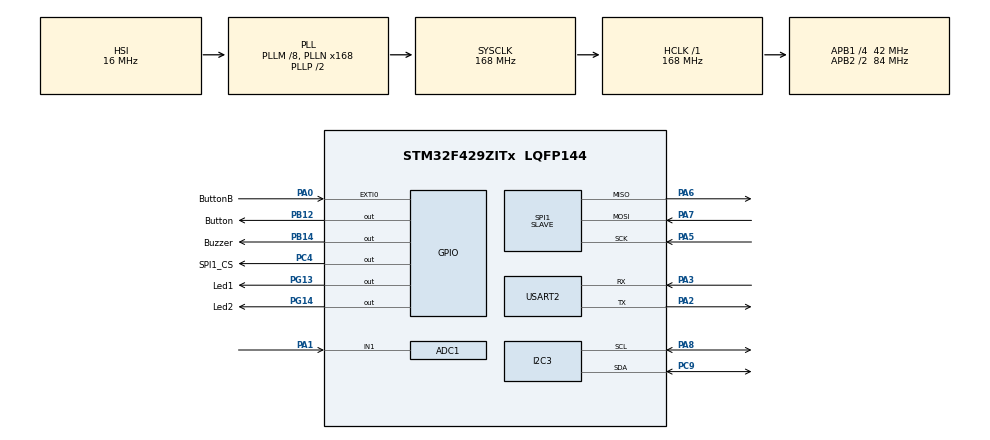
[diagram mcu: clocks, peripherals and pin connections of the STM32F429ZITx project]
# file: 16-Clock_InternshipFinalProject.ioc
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ADC1.Channel-0\#ChannelRegularConversion=ADC_CHANNEL_1
ADC1.ExternalTrigConv=ADC_EXTERNALTRIGCONV_T3_TRGO
ADC1.NbrOfConversionFlag=1
ADC1.Rank-0\#ChannelRegularConversion=1
ADC1.SamplingTime-0\#ChannelRegularConversion=ADC_SAMPLETIME_3CYCLES
ADC1.master=1
Dma.Request0=USART2_RX
Dma.USART2_RX.0.Direction=DMA_PERIPH_TO_MEMORY
Dma.USART2_RX.0.FIFOMode=DMA_FIFOMODE_DISABLE
Dma.USART2_RX.0.Instance=DMA1_Stream5
Dma.USART2_RX.0.MemDataAlignment=DMA_MDATAALIGN_BYTE
Dma.USART2_RX.0.MemInc=DMA_MINC_ENABLE
Dma.USART2_RX.0.Mode=DMA_NORMAL
Dma.USART2_RX.0.PeriphDataAlignment=DMA_PDATAALIGN_BYTE
Dma.USART2_RX.0.PeriphInc=DMA_PINC_DISABLE
Dma.USART2_RX.0.Priority=DMA_PRIORITY_LOW
Mcu.Family=STM32F4
Mcu.Name=STM32F429ZITx
Mcu.Package=LQFP144
NVIC.ADC_IRQn=true\:0\:0\:false\:false\:true\:true\:true
NVIC.DMA1_Stream5_IRQn=true\:0\:0\:false\:false\:true\:false\:true
NVIC.EXTI0_IRQn=true\:0\:0\:false\:false\:true\:true\:true
NVIC.PriorityGroup=NVIC_PRIORITYGROUP_4
NVIC.RCC_IRQn=true\:0\:0\:false\:false\:true\:true\:false
NVIC.SPI1_IRQn=true\:0\:0\:false\:false\:true\:true\:true
NVIC.TIM2_IRQn=true\:0\:0\:false\:false\:true\:true\:true
NVIC.TIM4_IRQn=true\:0\:0\:false\:false\:true\:true\:true
NVIC.USART2_IRQn=true\:0\:0\:false\:false\:true\:true\:true
PA0/WKUP.GPIO_Label=ButtonB
PA0/WKUP.Signal=GPXTI0
PA1.Signal=ADCx_IN1
PA2.Mode=Asynchronous
PA2.Signal=USART2_TX
PA3.Mode=Asynchronous
PA3.Signal=USART2_RX
PA5.Mode=Full_Duplex_Slave
PA5.Signal=SPI1_SCK
PA6.Mode=Full_Duplex_Slave
PA6.Signal=SPI1_MISO
PA7.Mode=Full_Duplex_Slave
PA7.Signal=SPI1_MOSI
PA8.Mode=I2C
PA8.Signal=I2C3_SCL
PB12.GPIO_Label=Button
PB12.Signal=GPIO_Output
PB14.GPIO_Label=Buzzer
PB14.Signal=GPIO_Output
PC4.GPIO_Label=SPI1_CS
PC4.Signal=GPIO_Output
PC9.Mode=I2C
PC9.Signal=I2C3_SDA
PG13.GPIO_Label=Led1
PG13.Signal=GPIO_Output
PG14.GPIO_Label=Led2
PG14.Signal=GPIO_Output
PH0/OSC_IN.Mode=HSE-External-Oscillator
PH0/OSC_IN.Signal=RCC_OSC_IN
PH1/OSC_OUT.Mode=HSE-External-Oscillator
PH1/OSC_OUT.Signal=RCC_OSC_OUT
ProjectManager.HeapSize=0x200
ProjectManager.StackSize=0x400
ProjectManager.TargetToolchain=MDK-ARM V5.27
RCC.48MHZClocksFreq_Value=84000000
RCC.AHBFreq_Value=168000000
RCC.APB1CLKDivider=RCC_HCLK_DIV4
RCC.APB1Freq_Value=42000000
RCC.APB1TimFreq_Value=84000000
RCC.APB2CLKDivider=RCC_HCLK_DIV2
RCC.APB2Freq_Value=84000000
RCC.APB2TimFreq_Value=168000000
RCC.CortexFreq_Value=168000000
RCC.HCLKFreq_Value=168000000
RCC.HSE_VALUE=8000000
RCC.HSI_VALUE=16000000
RCC.LSE_VALUE=32768
RCC.PLLM=8
RCC.PLLN=168
RCC.SYSCLKFreq_VALUE=168000000
RCC.SYSCLKSource=RCC_SYSCLKSOURCE_PLLCLK
RCC.VCOOutputFreq_Value=336000000
SH.ADCx_IN1.0=ADC1_IN1,IN1
SPI1.Direction=SPI_DIRECTION_2LINES
SPI1.Mode=SPI_MODE_SLAVE
SPI1.VirtualType=VM_SLAVE
TIM2.Period=8400-1
TIM2.Prescaler=1000-1
TIM3.Period=8400
TIM3.Prescaler=100
TIM3.TIM_MasterOutputTrigger=TIM_TRGO_UPDATE
TIM4.Period=10000
TIM4.Prescaler=8400
USART2.VirtualMode=VM_ASYNC
VP_TIM2_VS_ClockSourceINT.Mode=Internal
VP_TIM3_VS_ClockSourceINT.Mode=Internal
VP_TIM4_VS_ClockSourceINT.Mode=Internal
board=custom

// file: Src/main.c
/* USER CODE BEGIN Header */
/**
  ******************************************************************************
  * @file           : main.c
  * @brief          : Main program body
  ******************************************************************************
  * @attention
  *
  * <h2><center>&copy; Copyright (c) 2020 STMicroelectronics.
  * All rights reserved.</center></h2>
  *
  * This software component is licensed by ST under BSD 3-Clause license,
  * the "License"; You may not use this file except in compliance with the
  * License. You may obtain a copy of the License at:
  *                        opensource.org/licenses/BSD-3-Clause
  *
  ******************************************************************************
  */
/* USER CODE END Header */

#include "main.h"

/* USER CODE BEGIN Includes */
#include "i2c-lcd.h"
#include <stdio.h>  	//printf
#include "string.h"
#include <stdlib.h>
/* USER CODE END Includes */

/* USER CODE BEGIN PTD */
#ifdef __GNUC__						//Printf function
  /* With GCC, small printf (option LD Linker->Libraries->Small printf
     set to 'Yes') calls __io_putchar() */
  #define PUTCHAR_PROTOTYPE int __io_putchar(int ch)
#else
  #define PUTCHAR_PROTOTYPE int fputc(int ch, FILE *f)
#endif /* __GNUC__ */

	#ifdef __GNUC__
#define GETCHAR_PROTOTYPE int __io_getchar (void)
#else
#define GETCHAR_PROTOTYPE int fgetc(FILE * f)
#endif /* __GNUC__ */
/* USER CODE END PTD */

ADC_HandleTypeDef hadc1;

I2C_HandleTypeDef hi2c3;

SPI_HandleTypeDef hspi1;

TIM_HandleTypeDef htim2;
TIM_HandleTypeDef htim3;
TIM_HandleTypeDef htim4;

UART_HandleTypeDef huart2;
DMA_HandleTypeDef hdma_usart2_rx;

void SystemClock_Config(void);
static void MX_GPIO_Init(void);
static void MX_DMA_Init(void);
static void MX_ADC1_Init(void);
static void MX_I2C3_Init(void);
static void MX_SPI1_Init(void);
static void MX_TIM2_Init(void);
static void MX_TIM3_Init(void);
static void MX_TIM4_Init(void);
static void MX_USART2_UART_Init(void);

/* USER CODE BEGIN 0 */

//*************adc variables**********//
uint16_t adcval;

//*************clock variables********//
int count1=0;

int seconds=0;
int minutes=0;
int hours=0;

int day=1;
char* date="     Monday     ";
//*************clock set variables****//
int setSEC=0;
int setMIN=0;
int setHRS=0;
//*************alarm set variables****//
int alarmSEC=5;
int alarmMIN=0;
int alarmHRS=0;

//*************LCD menu variables****//
int time4clk=0;
int menu=0;
int setmenu=1;
//*************UART variables*******//
uint8_t dayBuff[1]={'\0'};
uint8_t UARTmenuBuff[1]={'0'};
uint8_t UARTSetmenuBuff[1]={'0'};
uint8_t UARTmenuScale=0;
uint8_t UARTdayScale=0;
uint8_t UARTSetmenuScale=0;
int UARTmenu;
int UARTSetmenu=0;
//*************UART variables*******//
uint8_t SPIseconds;
uint8_t SPIminutes;
uint8_t SPIhours;
uint8_t SPIbuff[6];
//*************Functions************//
char *GetInputPrototype(FILE* i, size_t size){
	char *str;
  int ch;
	size_t len = 0;
  str = realloc(NULL, sizeof(char)*size);

	while(EOF!=(ch=fgetc(i)) && ch != '\n'){
		__HAL_UART_CLEAR_OREFLAG(&huart2);
		HAL_UART_Receive(&huart2, (uint8_t *)i, 1, 0xFFF);
		str[len++]=ch;
		if(len==size)
				{
				str = realloc(str, sizeof(char)*(size+=16));
        if(!str)return str;
        }

		memset(i, '\0', sizeof(&i));
	}
	str[len++]='\0';

	return realloc(str, sizeof(char)*len);
}
int GetInput(uint8_t val){
	val= (uint8_t)GetInputPrototype(stdin, sizeof(val));
	return val;
}

void SetHours(uint16_t seHR){
	hours = seHR;
}
void SetMinutes(uint16_t seMI){
	minutes = seMI;
}
void SetSeconds(uint16_t seSE){
	seconds = seSE;
}

void ClearJunk(){
	lcd_setCursor(2,1);
	lcd_send_string("      ");
	lcd_setCursor(2,9);
	lcd_send_data (' ');
	lcd_setCursor(2,12);
	lcd_send_data (' ');
	lcd_setCursor(2,15);
	lcd_send_data (' ');
	lcd_setCursor(2,16);
	lcd_send_data (' ');
}

void Buzzer(){
		HAL_GPIO_WritePin(GPIOB, Buzzer_Pin, GPIO_PIN_SET);
		HAL_Delay(1000);
		HAL_GPIO_WritePin(GPIOB, Buzzer_Pin, GPIO_PIN_RESET);
}
void Days(){
	switch (day){
		case 1:
			date = "     Monday     "; break;
		case 2:
			date = "     Tuesday    "; break;
		case 3:
			date = "    Wednesday   "; break;
		case 4:
			date = "    Thursday    "; break;
		case 5:
			date = "     Friday     "; break;
		case 6:
			date = "    Saturday    "; break;
		case 7:
			date = "     Sunday     "; break;
		case 0:
			date = "     Sunday     "; break;
		}

	lcd_setCursor(1,1);
	lcd_send_string(date);

	if(day==7)
	{
		day=0;
	}
	else if(day>7)
	{
		day=day%7;
	}
	else if(day == 0)
	{
		day++;
	}
}

void Alarm(){
	if(alarmSEC == seconds && alarmMIN == minutes && alarmHRS == hours)
	{
		time4clk=0;
		HAL_GPIO_WritePin(GPIOB, Buzzer_Pin, GPIO_PIN_SET);

		lcd_setCursor(1,1);
		lcd_send_string("  !! ALARM. !!  ");
		printf("!! ALARM. !!  \n");
		HAL_Delay(1000);

	}
}
void UARTsetMenu(){
		if(UARTmenu==1){
			//***For entering the SetMenu(s)*****...gets UARTSetmenu input but doesn't wait........
			printf("\n\r Set Menu:\n\r1.setClock\n\r2.setAlarm\n\r3.setDay\n\r4.Exit\n\t");
			memset(&UARTSetmenu, '\0', sizeof(UARTSetmenu));
			HAL_UART_Receive(&huart2, (uint8_t *)&UARTSetmenuScale, 1, 0xFFFF);
			UARTSetmenu=UARTSetmenuScale-48;
			//*************************************************************************************
			if(UARTSetmenu==1)//Set Clock
			{
				//***Menu for setting the Clock patameters (HRS:MIN)********************
				printf("\n\rClock Settings:\n\n");
				printf("\r\tClock: __:__ \n\r\t\t");
				memset(&setHRS, '\0', sizeof(setHRS));
				scanf("%d",&setHRS);
				printf("\r\tClock: %d:__ \n",setHRS);
				scanf("%d",&setMIN);

				printf("\r\tClock: %d:%d \n",setHRS,setMIN);

				hours=setHRS%24;
				minutes=setMIN%60;
				printf("Set Clock to: %d:%d:00",hours, minutes);	//Prints setted clock
				UARTSetmenu++;																//Goes to the next menu automatically
			}

			if(UARTSetmenu==2)//Set Alarm
			{
				//***Menu for setting the Alarm patameters (HRS:MIN:SEC)*****************

				printf("\n\rAlarm Settings:\n\n");

				printf("\r\tAlarm: __:__:__ \n\r\t\t");
				memset(&alarmHRS, '\0', sizeof(alarmHRS));
				scanf("%d",&alarmHRS);
				printf("\r\tAlarm: %d:__:__ \n",alarmHRS);
				memset(&alarmMIN, '\0', sizeof(alarmMIN));
				scanf("%d",&alarmMIN);
				printf("\r\tAlarm: %d:%d:__ \n",alarmHRS,alarmMIN);
				memset(&alarmSEC, '\0', sizeof(alarmSEC));
				scanf("%d",&alarmSEC);
				printf("\r\tAlarm: %d:%d:%d \n",alarmHRS,alarmMIN,alarmSEC);

				alarmHRS=alarmHRS%24;
				alarmMIN=alarmMIN%60;
				alarmSEC=alarmSEC%60;
				printf("Alarm setted to: %d:%d:%d",alarmHRS, alarmMIN,alarmSEC);	//Prints setted clock
				UARTSetmenu++;																//Goes to the next menu automatically
			}
			if(UARTSetmenu==3)//Set Day
			{
				//***Menu for setting the Day patameters (Day)********************
				printf("\n\rDay Settings:\n\n");
				scanf("%d",(int *)&dayBuff[0]);
				//....Need a scan function that waits........
				day=dayBuff[0];
				Days();																	//Int to Day (switch case function)
				printf("Set Day to: %d - %s",day, date);//Prints setted day (int and day)

				UARTSetmenu++;																 //Goes to the next menu automatically
			}
			if(UARTSetmenu==4)//Exit
			{
				//***Exit Menu for making the Clock ON********************
				UARTmenu=0;
				seconds=0;
				printf("\n\rExit Settings, Clock:ON\n\n");
			}

		}
		else{
		//If anything comes except 1 for UARTmenu, it becomes 0, and clock continues..
		UARTmenu=0;
		}
}

void ScaleandSet(){
	UARTmenuScale=UARTmenuBuff[0]-33;
	UARTdayScale=dayBuff[0]-48;
	UARTSetmenuScale=UARTSetmenuBuff[0]-48;

	UARTmenu=UARTmenuScale;
	day=UARTdayScale;
	UARTSetmenu=UARTSetmenuScale;
}

/* USER CODE END 0 */

int main(void)
{

  /* MCU Configuration--------------------------------------------------------*/

  /* Reset of all peripherals, Initializes the Flash interface and the Systick. */
  HAL_Init();

  /* Configure the system clock */
  SystemClock_Config();

  /* Initialize all configured peripherals */
  MX_GPIO_Init();
  MX_DMA_Init();
  MX_ADC1_Init();
  MX_I2C3_Init();
  MX_SPI1_Init();
  MX_TIM2_Init();
  MX_TIM3_Init();
  MX_TIM4_Init();
  MX_USART2_UART_Init();
  /* USER CODE BEGIN 2 */

	HAL_ADC_Start_IT(&hadc1);

	HAL_TIM_Base_Start_IT(&htim2);
	HAL_TIM_Base_Start(&htim3);
	HAL_TIM_Base_Start_IT(&htim4);
	HAL_TIM_PWM_Start(&htim2, TIM_CHANNEL_1);

	lcd_init();
//	lcd_clear();

	SetHours(23);
	SetMinutes(59);
	SetSeconds(55);

	printf("\r\nLets cook the clock..");
	UARTmenu=0;
	UARTmenuScale=48;

	HAL_Delay(100);

	HAL_SPI_Receive_IT(&hspi1, SPIbuff, 3);
//	HAL_SPI_Receive_IT(&hspi1, &SPIminutes, 2);
//	HAL_SPI_Receive_IT(&hspi1, &SPIseconds, 2);

	HAL_Delay(3500);

	SPIhours		=	SPIbuff[0];
	SPIminutes	=	SPIbuff[1];
	SPIseconds	=	SPIbuff[2];

	SetHours(SPIhours);
	SetMinutes(SPIminutes);
	SetSeconds(SPIseconds);
  /* USER CODE END 2 */

  /* Infinite loop */
  while (1)
  {

    /* USER CODE BEGIN 3 */

		//***********************CLOCK Stuff********************************//
		if(menu == 0)				 //Clock menu
		{

			if(seconds > 59)				//count minutes
			{
				minutes++;
				seconds=0;

			}
			if(minutes > 59)				//count hours
			{
				hours++;
				minutes=0;				//5mins = 1hour ( just for trying faster) ...for real hour; ==36000

			}
			if(hours > 23)
			{
				HAL_GPIO_WritePin(GPIOG, Led1_Pin|Led2_Pin, GPIO_PIN_SET);
				hours=0;
				minutes=0;
				seconds=0;

				day++;
				Days();
				Buzzer();
				HAL_GPIO_WritePin(GPIOG, Led1_Pin|Led2_Pin, GPIO_PIN_RESET);
			}
			//**********************************LCD i2c Stuff*************************//
			lcd_setCursor(1,1);
			lcd_send_string("Saat: Sa Dk Sn");

			if(hours<10){
				lcd_setCursor(2,7);
				lcd_PrintInt(0);
				lcd_setCursor(2,8);
				lcd_PrintInt(hours);
			}
			else
			{
				lcd_setCursor(2,7);
				lcd_PrintInt(hours);
			}
			if(minutes<10){
				lcd_setCursor(2,10);
				lcd_PrintInt(0);
				lcd_setCursor(2,11);
				lcd_PrintInt(minutes);
			}
			else
			{
				lcd_setCursor(2,10);
				lcd_PrintInt(minutes);
			}
			if(seconds<10){
				lcd_setCursor(2,13);
				lcd_PrintInt(0);
				lcd_setCursor(2,14);
				lcd_PrintInt(seconds);
			}
			else
			{
				lcd_setCursor(2,13);
				lcd_PrintInt(seconds);
			}

		}
		else if(menu%2 == 1) //Clock set menu
		{
			lcd_setCursor(1,1);
			lcd_send_string("Ayar: Sa Dk Sn");
			lcd_setCursor(2,1);
			lcd_send_string("S:");
			if(setmenu%3 == 1)
			{
				setmenu++;
			}
			else if(setmenu%3 == 2)
			{
				lcd_setCursor(2,3);
				lcd_send_string("MIN");
				if(setMIN<10)
				{
					lcd_setCursor(2,10);
					lcd_PrintInt(0);
					lcd_setCursor(2,11);
					lcd_PrintInt(setMIN);
				}
				else
				{
					lcd_setCursor(2,10);
					lcd_PrintInt(setMIN);
				}
				minutes=setMIN;
			}

			else if(setmenu%3 == 0)
			{
				lcd_setCursor(2,3);
				lcd_send_string("HRS");
				if(setHRS<10)
				{
					lcd_setCursor(2,7);
					lcd_PrintInt(0);
					lcd_setCursor(2,8);
					lcd_PrintInt(setHRS);
				}
				else
				{
					lcd_setCursor(2,7);
					lcd_PrintInt(setHRS);
				}
				hours=setHRS;
			}

			else
			{
				if(time4clk == 5)
				{
					menu=0;
					seconds=0;
				}
			}

			HAL_Delay(1000);
			seconds+=5;
		}
		else if(menu%2 == 0) //Alarm menu
		{
			lcd_setCursor(1,1);
			lcd_send_string("Alrm: Sa Dk Sn");
			lcd_setCursor(2,1);
			lcd_send_string("S:");

			if(setmenu%3 == 1)
			{
				lcd_setCursor(2,3);
				lcd_send_string("SEC");
				if(setSEC<10)
				{
					lcd_setCursor(2,13);
					lcd_PrintInt(0);
					lcd_setCursor(2,14);
					lcd_PrintInt(setSEC);
				}
				else
				{
					lcd_setCursor(2,13);
					lcd_PrintInt(setSEC);
				}
				alarmSEC=setSEC;
			}
			else if(setmenu%3 == 2)
			{
				lcd_setCursor(2,3);
				lcd_send_string("MIN");
				if(setMIN<10)
				{
					lcd_setCursor(2,10);
					lcd_PrintInt(0);
					lcd_setCursor(2,11);
					lcd_PrintInt(setMIN);
				}
				else
				{
					lcd_setCursor(2,10);
					lcd_PrintInt(setMIN);
				}
				alarmMIN=setMIN;
			}

			else if(setmenu%3 == 0)
			{
				lcd_setCursor(2,3);
				lcd_send_string("HRS");
				if(setHRS<10)
				{
					lcd_setCursor(2,7);
					lcd_PrintInt(0);
					lcd_setCursor(2,8);
					lcd_PrintInt(setHRS);
				}
				else
				{
					lcd_setCursor(2,7);
					lcd_PrintInt(setHRS);
				}
				alarmHRS=setHRS;
			}

			else
			{
				if(time4clk == 5)
				{
					menu=0;
					seconds=0;
				}
			}
			HAL_Delay(1000);
		}
		//***********************UART Stuff********************************//
	//	memset(&UARTmenuScale,'\0',1);
		HAL_UART_Receive(&huart2, (uint8_t *)&UARTmenuScale, 1, 50);
		UARTmenu=UARTmenuScale-48;
		if(UARTmenu==1){ goto jump; }
		//***********************SPI Stuff*********************************//
//			if(*RxBuff == *On)
//		{
//			HAL_GPIO_WritePin(GPIOG, Led1_Pin, GPIO_PIN_RESET);
//		}
//		else if(*RxBuff == *Off)
//		{
//			HAL_GPIO_WritePin(GPIOG, Led1_Pin, GPIO_PIN_RESET);
//		}

		jump2:
		//***********************Alarm Stuff********************************//
		Alarm();
		if(HAL_GPIO_ReadPin(GPIOB, Buzzer_Pin)==1) //Alarm mute
		{
			if(setmenu%3 == 2 || time4clk == 5)
			{
				HAL_GPIO_WritePin(GPIOB, Buzzer_Pin, GPIO_PIN_RESET);
				printf("Alarm Muted.  \n");
				setmenu=1;
			}
		}

		ClearJunk(); //Clears junks or memory leaks from the lcd

  }
	jump:
	UARTsetMenu();
	printf("...Quitted...");
	if(UARTSetmenu==4){
	UARTmenuScale=48;
	goto jump2; }

  /* USER CODE END 3 */
}

void SystemClock_Config(void)
{
  RCC_OscInitTypeDef RCC_OscInitStruct = {0};
  RCC_ClkInitTypeDef RCC_ClkInitStruct = {0};

  /** Configure the main internal regulator output voltage
  */
  __HAL_RCC_PWR_CLK_ENABLE();
  __HAL_PWR_VOLTAGESCALING_CONFIG(PWR_REGULATOR_VOLTAGE_SCALE1);
  /** Initializes the CPU, AHB and APB busses clocks
  */
  RCC_OscInitStruct.OscillatorType = RCC_OSCILLATORTYPE_HSI;
  RCC_OscInitStruct.HSIState = RCC_HSI_ON;
  RCC_OscInitStruct.HSICalibrationValue = RCC_HSICALIBRATION_DEFAULT;
  RCC_OscInitStruct.PLL.PLLState = RCC_PLL_ON;
  RCC_OscInitStruct.PLL.PLLSource = RCC_PLLSOURCE_HSI;
  RCC_OscInitStruct.PLL.PLLM = 8;
  RCC_OscInitStruct.PLL.PLLN = 168;
  RCC_OscInitStruct.PLL.PLLP = RCC_PLLP_DIV2;
  RCC_OscInitStruct.PLL.PLLQ = 4;
  if (HAL_RCC_OscConfig(&RCC_OscInitStruct) != HAL_OK)
  {
    Error_Handler();
  }
  /** Initializes the CPU, AHB and APB busses clocks
  */
  RCC_ClkInitStruct.ClockType = RCC_CLOCKTYPE_HCLK|RCC_CLOCKTYPE_SYSCLK
                              |RCC_CLOCKTYPE_PCLK1|RCC_CLOCKTYPE_PCLK2;
  RCC_ClkInitStruct.SYSCLKSource = RCC_SYSCLKSOURCE_PLLCLK;
  RCC_ClkInitStruct.AHBCLKDivider = RCC_SYSCLK_DIV1;
  RCC_ClkInitStruct.APB1CLKDivider = RCC_HCLK_DIV4;
  RCC_ClkInitStruct.APB2CLKDivider = RCC_HCLK_DIV2;

  if (HAL_RCC_ClockConfig(&RCC_ClkInitStruct, FLASH_LATENCY_5) != HAL_OK)
  {
    Error_Handler();
  }
}

static void MX_ADC1_Init(void)
{

  ADC_ChannelConfTypeDef sConfig = {0};

  /** Configure the global features of the ADC (Clock, Resolution, Data Alignment and number of conversion)
  */
  hadc1.Instance = ADC1;
  hadc1.Init.ClockPrescaler = ADC_CLOCK_SYNC_PCLK_DIV4;
  hadc1.Init.Resolution = ADC_RESOLUTION_12B;
  hadc1.Init.ScanConvMode = DISABLE;
  hadc1.Init.ContinuousConvMode = DISABLE;
  hadc1.Init.DiscontinuousConvMode = DISABLE;
  hadc1.Init.ExternalTrigConvEdge = ADC_EXTERNALTRIGCONVEDGE_RISING;
  hadc1.Init.ExternalTrigConv = ADC_EXTERNALTRIGCONV_T3_TRGO;
  hadc1.Init.DataAlign = ADC_DATAALIGN_RIGHT;
  hadc1.Init.NbrOfConversion = 1;
  hadc1.Init.DMAContinuousRequests = DISABLE;
  hadc1.Init.EOCSelection = ADC_EOC_SINGLE_CONV;
  if (HAL_ADC_Init(&hadc1) != HAL_OK)
  {
    Error_Handler();
  }
  /** Configure for the selected ADC regular channel its corresponding rank in the sequencer and its sample time.
  */
  sConfig.Channel = ADC_CHANNEL_1;
  sConfig.Rank = 1;
  sConfig.SamplingTime = ADC_SAMPLETIME_3CYCLES;
  if (HAL_ADC_ConfigChannel(&hadc1, &sConfig) != HAL_OK)
  {
    Error_Handler();
  }

}

static void MX_I2C3_Init(void)
{

  hi2c3.Instance = I2C3;
  hi2c3.Init.ClockSpeed = 100000;
  hi2c3.Init.DutyCycle = I2C_DUTYCYCLE_2;
  hi2c3.Init.OwnAddress1 = 0;
  hi2c3.Init.AddressingMode = I2C_ADDRESSINGMODE_7BIT;
  hi2c3.Init.DualAddressMode = I2C_DUALADDRESS_DISABLE;
  hi2c3.Init.OwnAddress2 = 0;
  hi2c3.Init.GeneralCallMode = I2C_GENERALCALL_DISABLE;
  hi2c3.Init.NoStretchMode = I2C_NOSTRETCH_DISABLE;
  if (HAL_I2C_Init(&hi2c3) != HAL_OK)
  {
    Error_Handler();
  }
  /** Configure Analogue filter
  */
  if (HAL_I2CEx_ConfigAnalogFilter(&hi2c3, I2C_ANALOGFILTER_ENABLE) != HAL_OK)
  {
    Error_Handler();
  }
  /** Configure Digital filter
  */
  if (HAL_I2CEx_ConfigDigitalFilter(&hi2c3, 0) != HAL_OK)
  {
    Error_Handler();
  }

}

static void MX_SPI1_Init(void)
{

  /* SPI1 parameter configuration*/
  hspi1.Instance = SPI1;
  hspi1.Init.Mode = SPI_MODE_SLAVE;
  hspi1.Init.Direction = SPI_DIRECTION_2LINES;
  hspi1.Init.DataSize = SPI_DATASIZE_8BIT;
  hspi1.Init.CLKPolarity = SPI_POLARITY_LOW;
  hspi1.Init.CLKPhase = SPI_PHASE_1EDGE;
  hspi1.Init.NSS = SPI_NSS_SOFT;
  hspi1.Init.FirstBit = SPI_FIRSTBIT_MSB;
  hspi1.Init.TIMode = SPI_TIMODE_DISABLE;
  hspi1.Init.CRCCalculation = SPI_CRCCALCULATION_DISABLE;
  hspi1.Init.CRCPolynomial = 10;
  if (HAL_SPI_Init(&hspi1) != HAL_OK)
  {
    Error_Handler();
  }

}

static void MX_TIM2_Init(void)
{

  TIM_ClockConfigTypeDef sClockSourceConfig = {0};
  TIM_MasterConfigTypeDef sMasterConfig = {0};

  htim2.Instance = TIM2;
  htim2.Init.Prescaler = 1000-1;
  htim2.Init.CounterMode = TIM_COUNTERMODE_UP;
  htim2.Init.Period = 8400-1;
  htim2.Init.ClockDivision = TIM_CLOCKDIVISION_DIV1;
  htim2.Init.AutoReloadPreload = TIM_AUTORELOAD_PRELOAD_DISABLE;
  if (HAL_TIM_Base_Init(&htim2) != HAL_OK)
  {
    Error_Handler();
  }
  sClockSourceConfig.ClockSource = TIM_CLOCKSOURCE_INTERNAL;
  if (HAL_TIM_ConfigClockSource(&htim2, &sClockSourceConfig) != HAL_OK)
  {
    Error_Handler();
  }
  sMasterConfig.MasterOutputTrigger = TIM_TRGO_RESET;
  sMasterConfig.MasterSlaveMode = TIM_MASTERSLAVEMODE_DISABLE;
  if (HAL_TIMEx_MasterConfigSynchronization(&htim2, &sMasterConfig) != HAL_OK)
  {
    Error_Handler();
  }

}

static void MX_TIM3_Init(void)
{

  TIM_ClockConfigTypeDef sClockSourceConfig = {0};
  TIM_MasterConfigTypeDef sMasterConfig = {0};

  htim3.Instance = TIM3;
  htim3.Init.Prescaler = 100;
  htim3.Init.CounterMode = TIM_COUNTERMODE_UP;
  htim3.Init.Period = 8400;
  htim3.Init.ClockDivision = TIM_CLOCKDIVISION_DIV1;
  htim3.Init.AutoReloadPreload = TIM_AUTORELOAD_PRELOAD_DISABLE;
  if (HAL_TIM_Base_Init(&htim3) != HAL_OK)
  {
    Error_Handler();
  }
  sClockSourceConfig.ClockSource = TIM_CLOCKSOURCE_INTERNAL;
  if (HAL_TIM_ConfigClockSource(&htim3, &sClockSourceConfig) != HAL_OK)
  {
    Error_Handler();
  }
  sMasterConfig.MasterOutputTrigger = TIM_TRGO_UPDATE;
  sMasterConfig.MasterSlaveMode = TIM_MASTERSLAVEMODE_DISABLE;
  if (HAL_TIMEx_MasterConfigSynchronization(&htim3, &sMasterConfig) != HAL_OK)
  {
    Error_Handler();
  }

}

static void MX_TIM4_Init(void)
{

  TIM_ClockConfigTypeDef sClockSourceConfig = {0};
  TIM_MasterConfigTypeDef sMasterConfig = {0};

  htim4.Instance = TIM4;
  htim4.Init.Prescaler = 8400;
  htim4.Init.CounterMode = TIM_COUNTERMODE_UP;
  htim4.Init.Period = 10000;
  htim4.Init.ClockDivision = TIM_CLOCKDIVISION_DIV1;
  htim4.Init.AutoReloadPreload = TIM_AUTORELOAD_PRELOAD_DISABLE;
  if (HAL_TIM_Base_Init(&htim4) != HAL_OK)
  {
    Error_Handler();
  }
  sClockSourceConfig.ClockSource = TIM_CLOCKSOURCE_INTERNAL;
  if (HAL_TIM_ConfigClockSource(&htim4, &sClockSourceConfig) != HAL_OK)
  {
    Error_Handler();
  }
  sMasterConfig.MasterOutputTrigger = TIM_TRGO_RESET;
  sMasterConfig.MasterSlaveMode = TIM_MASTERSLAVEMODE_DISABLE;
  if (HAL_TIMEx_MasterConfigSynchronization(&htim4, &sMasterConfig) != HAL_OK)
  {
    Error_Handler();
  }

}

static void MX_USART2_UART_Init(void)
{

  huart2.Instance = USART2;
  huart2.Init.BaudRate = 115200;
  huart2.Init.WordLength = UART_WORDLENGTH_8B;
  huart2.Init.StopBits = UART_STOPBITS_1;
  huart2.Init.Parity = UART_PARITY_NONE;
  huart2.Init.Mode = UART_MODE_TX_RX;
  huart2.Init.HwFlowCtl = UART_HWCONTROL_NONE;
  huart2.Init.OverSampling = UART_OVERSAMPLING_16;
  if (HAL_UART_Init(&huart2) != HAL_OK)
  {
    Error_Handler();
  }

}

static void MX_DMA_Init(void)
{

  /* DMA controller clock enable */
  __HAL_RCC_DMA1_CLK_ENABLE();

  /* DMA interrupt init */
  /* DMA1_Stream5_IRQn interrupt configuration */
  HAL_NVIC_SetPriority(DMA1_Stream5_IRQn, 0, 0);
  HAL_NVIC_EnableIRQ(DMA1_Stream5_IRQn);

}

static void MX_GPIO_Init(void)
{
  GPIO_InitTypeDef GPIO_InitStruct = {0};

  /* GPIO Ports Clock Enable */
  __HAL_RCC_GPIOH_CLK_ENABLE();
  __HAL_RCC_GPIOA_CLK_ENABLE();
  __HAL_RCC_GPIOC_CLK_ENABLE();
  __HAL_RCC_GPIOB_CLK_ENABLE();
  __HAL_RCC_GPIOG_CLK_ENABLE();

  /*Configure GPIO pin Output Level */
  HAL_GPIO_WritePin(SPI1_CS_GPIO_Port, SPI1_CS_Pin, GPIO_PIN_RESET);

  /*Configure GPIO pin Output Level */
  HAL_GPIO_WritePin(GPIOB, Button_Pin|Buzzer_Pin, GPIO_PIN_RESET);

  /*Configure GPIO pin Output Level */
  HAL_GPIO_WritePin(GPIOG, Led1_Pin|Led2_Pin, GPIO_PIN_RESET);

  /*Configure GPIO pin : ButtonB_Pin */
  GPIO_InitStruct.Pin = ButtonB_Pin;
  GPIO_InitStruct.Mode = GPIO_MODE_IT_RISING;
  GPIO_InitStruct.Pull = GPIO_NOPULL;
  HAL_GPIO_Init(ButtonB_GPIO_Port, &GPIO_InitStruct);

  /*Configure GPIO pin : SPI1_CS_Pin */
  GPIO_InitStruct.Pin = SPI1_CS_Pin;
  GPIO_InitStruct.Mode = GPIO_MODE_OUTPUT_PP;
  GPIO_InitStruct.Pull = GPIO_NOPULL;
  GPIO_InitStruct.Speed = GPIO_SPEED_FREQ_LOW;
  HAL_GPIO_Init(SPI1_CS_GPIO_Port, &GPIO_InitStruct);

  /*Configure GPIO pins : Button_Pin Buzzer_Pin */
  GPIO_InitStruct.Pin = Button_Pin|Buzzer_Pin;
  GPIO_InitStruct.Mode = GPIO_MODE_OUTPUT_PP;
  GPIO_InitStruct.Pull = GPIO_NOPULL;
  GPIO_InitStruct.Speed = GPIO_SPEED_FREQ_LOW;
  HAL_GPIO_Init(GPIOB, &GPIO_InitStruct);

  /*Configure GPIO pins : Led1_Pin Led2_Pin */
  GPIO_InitStruct.Pin = Led1_Pin|Led2_Pin;
  GPIO_InitStruct.Mode = GPIO_MODE_OUTPUT_PP;
  GPIO_InitStruct.Pull = GPIO_NOPULL;
  GPIO_InitStruct.Speed = GPIO_SPEED_FREQ_LOW;
  HAL_GPIO_Init(GPIOG, &GPIO_InitStruct);

  /* EXTI interrupt init*/
  HAL_NVIC_SetPriority(EXTI0_IRQn, 0, 0);
  HAL_NVIC_EnableIRQ(EXTI0_IRQn);

}

/* USER CODE BEGIN 4 */

PUTCHAR_PROTOTYPE									//printf def to uart
{
  /* Place your implementation of fputc here */
  /* e.g. write a character to the EVAL_COM1 and Loop until the end of transmission */
  HAL_UART_Transmit(&huart2, (uint8_t *)&ch, 1, 0xFFFF);
  return ch;
}

GETCHAR_PROTOTYPE
{
  uint8_t ch = 0;
  // Clear the Overrun flag just before receiving the first character
  __HAL_UART_CLEAR_OREFLAG(&huart2);

  HAL_UART_Receive(&huart2, (uint8_t *)&ch, 1, 0xFFFF);
  HAL_UART_Transmit(&huart2, (uint8_t *)&ch, 1, 0xFFFF);
  return ch;
}

void HAL_TIM_PeriodElapsedCallback(TIM_HandleTypeDef *htim)
{
  /* Prevent unused argument(s) compilation warning */
  UNUSED(htim);

  /* NOTE : This function should not be modified, when the callback is needed,
            the HAL_TIM_PeriodElapsedCallback could be implemented in the user file
   */

	if(htim->Instance == TIM2) //01. sec
  {
	//	HAL_GPIO_TogglePin(GPIOG, Led1_Pin);
		TIM2->CNT-=300;
		count1++;

		if(count1 == 10)
		{
			HAL_GPIO_TogglePin(GPIOG, Led2_Pin);
			seconds++;
			count1=0;

			if(UARTmenu==0)
			{
				printf("\n\r Day: %s	Saat: %d:%d:%d 	Alarm: %d:%d:%d\t",date,hours%24,minutes%60,seconds%60 , alarmHRS, alarmMIN, alarmSEC);
			}
		}
	}

	if(htim->Instance == TIM4)
  {
		time4clk++;
	}

}

void HAL_ADC_ConvCpltCallback(ADC_HandleTypeDef* hadc)
{
  /* Prevent unused argument(s) compilation warning */
  UNUSED(hadc);
  /* NOTE : This function Should not be modified, when the callback is needed,
            the HAL_ADC_ConvCpltCallback could be implemented in the user file
   */
	//adcval= HAL_ADC_GetValue(&hadc1);
	if(setmenu%3 == 1)
	{
		adcval= HAL_ADC_GetValue(&hadc1);
		setSEC=(adcval+1)/68.26666666666666666666666666666;
	}
	else if(setmenu%3 == 2)
	{
		adcval= HAL_ADC_GetValue(&hadc1);
		setMIN=(adcval+1)/68.26666666666666666666666666666;
	}
	else	if(setmenu%3 == 0)
	{
		adcval= HAL_ADC_GetValue(&hadc1);
		setHRS=(adcval+1)/170.6666666666666666666666666666;
	}
	else
		adcval=0;

}

void HAL_GPIO_EXTI_Callback(uint16_t GPIO_Pin)
{
  /* Prevent unused argument(s) compilation warning */
  //	UNUSED(GPIO_Pin);
  /* NOTE: This function Should not be modified, when the callback is needed,
           the HAL_GPIO_EXTI_Callback could be implemented in the user file
   */
	TIM4->CNT=0;
	if(HAL_GPIO_ReadPin(GPIOA, ButtonB_Pin))
	{
	menu++;
	time4clk=0;
	}
	else if(HAL_GPIO_ReadPin(GPIOB, Button_Pin))
	{
	//while(HAL_GPIO_ReadPin(GPIOB, Button_Pin));
	setmenu++;
	time4clk=0;
	}

}

void HAL_UART_TxCpltCallback(UART_HandleTypeDef *huart)
{
  if(huart->Instance== USART2)
	{
		printf("cum");

	}
}
void HAL_SPI_RxCpltCallback(SPI_HandleTypeDef *hspi)
{

	if(hspi->Instance==SPI1)
	{
//			HAL_SPI_Receive_IT(&hspi1, &SPIhours, 2);
//			hours=SPIhours;
//			HAL_Delay(100);
//
//			HAL_SPI_Receive_IT(&hspi1, &SPIminutes, 2);
//			minutes=SPIminutes;
//			HAL_Delay(100);
//
//			HAL_SPI_Receive_IT(&hspi1, &SPIseconds, 2);
//			seconds=SPIseconds;
//			HAL_Delay(100);

	}
}
/* USER CODE END 4 */

void Error_Handler(void)
{
}

/************************ (C) COPYRIGHT STMicroelectronics *****END OF FILE****/
